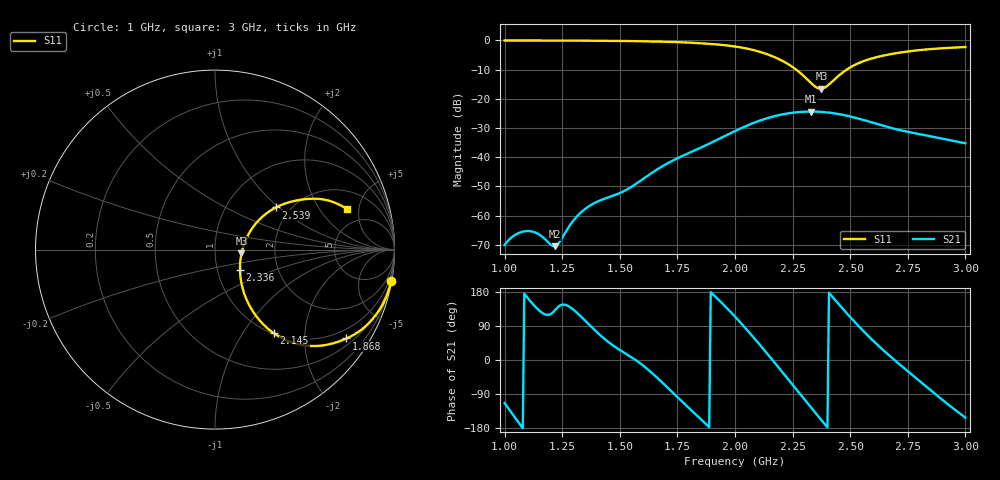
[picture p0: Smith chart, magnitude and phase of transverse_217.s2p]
! TOUCHSTONE file generated by CST MICROWAVE STUDIO
! Date and time: Tue Mar 11 13:57:49 2025
! Project name: transverse.cst
! Parameters = {Fracture=1; B=10; D=160; F=5; Feed=2.85625; L=100; M=10; R=0.384908; S=1; Theta=270; length=57.125; wave=114.25}
! Header version: 2024
! Port assignment regex: !\s*Touchstone port\s*([0-9]+)\s*=\s*(CST MWS port|CST DES external port|CST DES block port)\s*(.+)\s* \(\"(.*)\"\)(\s*mode\s*([0-9]+))?.*
! Touchstone port assignment:
! Touchstone port 1 = CST MWS port 1 ("")
! Touchstone port 2 = CST MWS port 2 ("")
# GHz S MA R 50
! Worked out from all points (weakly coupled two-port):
!   305 points, 1 GHz to 3 GHz, reference 50 ohm
!   highest |S21| = -24.35 dB at 2.329 GHz (marker M1); lowest = -70.4 dB at 1.217 GHz (marker M2)
!   lowest |S11| = -16.5 dB at 2.375 GHz (marker M3), VSWR 1.35, Z = 67.2 - j2.97 ohm
!   |S11| at or under -10 dB: 2.265 GHz to 2.485 GHz (219.6 MHz wide, 9.25 % of centre)
!   S12 and S22 are empty: the file has one direction only
!   S11 on the Smith chart (normalised r, x): 1 GHz: 0, -11; 1.868 GHz: 0.69, -3.13; 2.145 GHz: 1.01, -1.40; 2.336 GHz: 1.29, -0.30; 2.539 GHz: 1.69, +0.96; 3 GHz: 3.37, +3.75
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1  0.9979 -10.0  0.000315 -113.6  0 0.0  0 0.0
1.04605  0.9972 -10.6  0.0004711 -152.8  0 0.0  0 0.0
1.09868  0.9962 -11.4  0.0005459 164.9  0 0.0  0 0.0
1.14474  0.9956 -12.1  0.0004899 133.5  0 0.0  0 0.0
1.21711  0.9945 -13.3  0.0003008 130.2  0 0.0  0 0.0
1.23684  0.9941 -13.6  0.000348 142.3  0 0.0  0 0.0
1.28947  0.9922 -14.6  0.0007407 137.2  0 0.0  0 0.0
1.33553  0.99 -15.5  0.001176 112.2  0 0.0  0 0.0
1.39474  0.9869 -16.8  0.001683 76.9  0 0.0  0 0.0
1.53289  0.9756 -20.3  0.002833 14.1  0 0.0  0 0.0
1.67105  0.9539 -24.8  0.006505 -51.8  0 0.0  0 0.0
1.86842  0.8841 -34.1  0.0157 -165.9  0 0.0  0 0.0
2  0.7864 -43.0  0.02807 114.5  0 0.0  0 0.0
2.14474  0.5708 -54.8  0.04724 13.2  0 0.0  0 0.0
2.24342  0.3647 -58.4  0.0574 -60.4  0 0.0  0 0.0
2.32895  0.1883 -42.1  0.06059 -124.5  0 0.0  0 0.0
2.33553  0.1781 -38.6  0.06058 -129.4  0 0.0  0 0.0
2.375  0.149 -8.3  0.05973 -158.6  0 0.0  0 0.0
2.46053  0.2691 32.5  0.05391 140.2  0 0.0  0 0.0
2.53947  0.4128 34.7  0.04551 87.6  0 0.0  0 0.0
2.67105  0.5769 29.2  0.03228 11.1  0 0.0  0 0.0
3  0.7705 17.1  0.01738 -152.1  0 0.0  0 0.0
